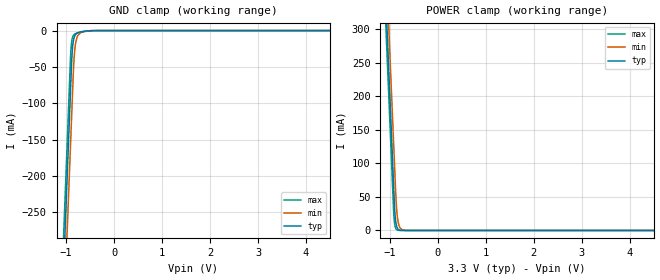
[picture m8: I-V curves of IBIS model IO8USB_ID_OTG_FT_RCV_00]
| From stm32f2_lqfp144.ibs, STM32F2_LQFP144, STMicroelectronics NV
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| *** New cell (Generated with 5.14beta1 (Sep 20 2010 13:23:23))
[Model]   IO8USB_ID_OTG_FT_RCV_00
Model_type Input
Polarity   Non-Inverting
Enable   Active-Low
| CAP_THRESHOLD on pad IOV33 is "CMOS" :
| Rising=10.0% of vddio   Falling=90.0% of vddio
| C_comp min and max val. don't necessarily correlate with the min and max pvt
| but are the smallest and greatest pad capacitance found.
| var   typ   min   max
C_comp   2.14545pF  2.04600pF  2.26735pF
Vinl = 810.0mV | Dummy value overriden by next lines
Vinh = 2.52V | Dummy value overriden by next lines
[Model Spec]
| TIME_THRESHOLD on pin ZIV12 is "CORE" :
| Rising=40.0% of vdd   Falling=60.0% of vdd
Vinl 1.25450V 1.03850V 1.36250V
Vinh 1.66150V 1.36950V 1.82450V
| variable   typ   min   max
[Temperature Range] 25.0 125.0 -40.0
| variable   typ   min   max
[Voltage Range] 3.3V 2.7V 3.6V
| variable   typ   min   max
[POWER Clamp Reference] 3.3V 2.7V 3.6V
| variable   typ   min   max
[GND Clamp Reference] 0V 0V 0V
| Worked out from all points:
|   GND clamp passes 1 mA (typ) near -0.62 V on its own axis
|   POWER clamp passes 1 mA (typ) near -0.81 V on its own axis
[POWER Clamp]
-3.3V     4.11A      4.173A     4.072A
-1.09V    352.5mA    415.9mA    314.5mA
-1.05V    284.5mA    347.9mA    246.5mA
-1.01V    216.5mA    279.9mA    178.5mA
-920mV    63.51mA    126.9mA    25.85mA
-900mV    31.51mA    92.9mA     9.552mA
-890mV    21.35mA    75.9mA     5.807mA
-870mV    9.804mA    44.01mA    2.146mA
-840mV    3.05mA     18.36mA    482.1uA
-780mV    295.2uA    3.194mA    24.34uA
-660mV    2.764uA    96.54uA    62.42nA
6.6V      0A         0A         0A
[GND Clamp]
-3.3V     -4.149A    -4.223A    -4.103A
-1.06V    -340.6mA   -415.4mA   -294.6mA
-940mV    -136.6mA   -211.4mA   -90.55mA
-900mV    -68.56mA   -143.4mA   -26.56mA
-880mV    -36.74mA   -109.4mA   -13.48mA
-870mV    -26.57mA   -92.41mA   -10.3mA
-840mV    -11.31mA   -44.9mA    -5.968mA
-820mV    -7.237mA   -26.99mA   -4.81mA
-790mV    -4.465mA   -13.32mA   -3.798mA
-700mV    -1.968mA   -2.918mA   -1.891mA
-350mV    -6.461uA   -36.64uA   -1.196uA
6.6V      9.456nA    1.185uA    63.86pA
